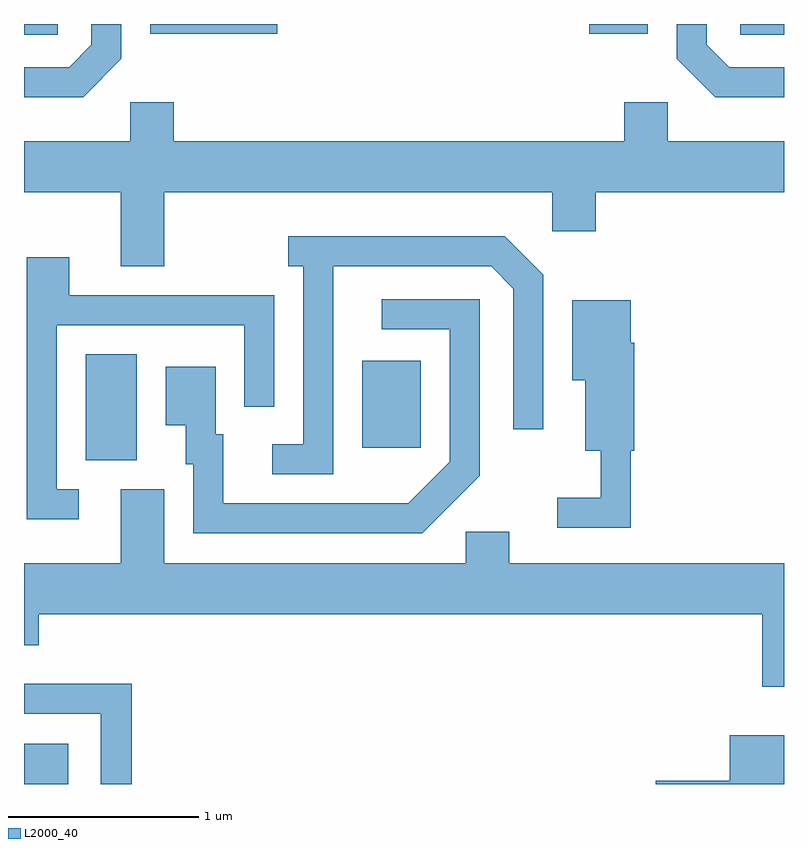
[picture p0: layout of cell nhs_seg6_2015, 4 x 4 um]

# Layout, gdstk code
import gdstk
lib = gdstk.Library(unit=1e-6, precision=1e-09)
def R(c, l, rs):  # rectangles x0, y0, x1, y1
    for r in rs: c.add(gdstk.rectangle(r[:2], r[2:], *l))
def P(c, l, *ps):  # polygons
    for p in ps: c.add(gdstk.Polygon(p, *l))
L2000_40 = (2000, 40)

nhs_seg6_2015 = lib.new_cell('nhs_seg6_2015')
R(nhs_seg6_2015, L2000_40, [(245.611,1640.162,245.844,1640.374), (245.936,1641.866,246.204,1642.424), (247.391,1641.931,247.699,1642.389), (245.611,1644.106,245.789,1644.162), (249.381,1644.106,249.611,1644.162), (246.276,1644.111,246.944,1644.162), (248.586,1644.111,248.894,1644.162)])
P(nhs_seg6_2015, L2000_40, [(246.124,1643.979),(246.124,1644.162),(245.966,1644.162),(245.966,1644.052),(245.849,1643.934),(245.611,1643.934),(245.611,1643.776),(245.922,1643.776)],
  [(249.611,1643.934),(249.322,1643.934),(249.204,1644.052),(249.204,1644.162),(249.046,1644.162),(249.046,1643.979),(249.249,1643.776),(249.611,1643.776)],
  [(246.349,1643.276),(248.391,1643.276),(248.391,1643.071),(248.619,1643.071),(248.619,1643.276),(249.611,1643.276),(249.611,1643.544),(248.999,1643.544),(248.999,1643.749),(248.771,1643.749),(248.771,1643.544),(246.399,1643.544),(246.399,1643.749),(246.171,1643.749),(246.171,1643.544),(245.611,1643.544),(245.611,1643.276),(246.121,1643.276),(246.121,1642.886),(246.349,1642.886)],
  [(247.239,1642.886),(248.069,1642.886),(248.186,1642.769),(248.186,1642.028),(248.344,1642.028),(248.344,1642.842),(248.142,1643.044),(247.003,1643.044),(247.003,1642.886),(247.081,1642.886),(247.081,1641.949),(246.918,1641.949),(246.918,1641.791),(247.239,1641.791)],
  [(245.898,1641.714),(245.784,1641.714),(245.784,1642.576),(246.771,1642.576),(246.771,1642.148),(246.929,1642.148),(246.929,1642.734),(245.849,1642.734),(245.849,1642.934),(245.626,1642.934),(245.626,1641.556),(245.898,1641.556)],
  [(248.009,1641.784),(248.009,1642.714),(247.493,1642.714),(247.493,1642.556),(247.851,1642.556),(247.851,1641.857),(247.634,1641.639),(246.659,1641.639),(246.659,1642.004),(246.619,1642.004),(246.619,1642.359),(246.356,1642.359),(246.356,1642.051),(246.461,1642.051),(246.461,1641.846),(246.501,1641.846),(246.501,1641.481),(247.707,1641.481)],
  [(248.804,1641.916),(248.824,1641.916),(248.824,1642.484),(248.804,1642.484),(248.804,1642.709),(248.496,1642.709),(248.496,1642.286),(248.566,1642.286),(248.566,1641.916),(248.646,1641.916),(248.646,1641.669),(248.418,1641.669),(248.418,1641.511),(248.804,1641.511)],
  [(249.611,1641.324),(248.164,1641.324),(248.164,1641.489),(247.936,1641.489),(247.936,1641.324),(246.349,1641.324),(246.349,1641.714),(246.121,1641.714),(246.121,1641.324),(245.611,1641.324),(245.611,1640.891),(245.689,1640.891),(245.689,1641.056),(249.496,1641.056),(249.496,1640.673),(249.611,1640.673)],
  [(246.179,1640.689),(245.611,1640.689),(245.611,1640.531),(246.016,1640.531),(246.016,1640.162),(246.179,1640.162)],
  [(249.611,1640.419),(249.326,1640.419),(249.326,1640.179),(248.936,1640.179),(248.936,1640.162),(249.611,1640.162)])

lib.write_gds('nhs_seg6_2015.gds')
